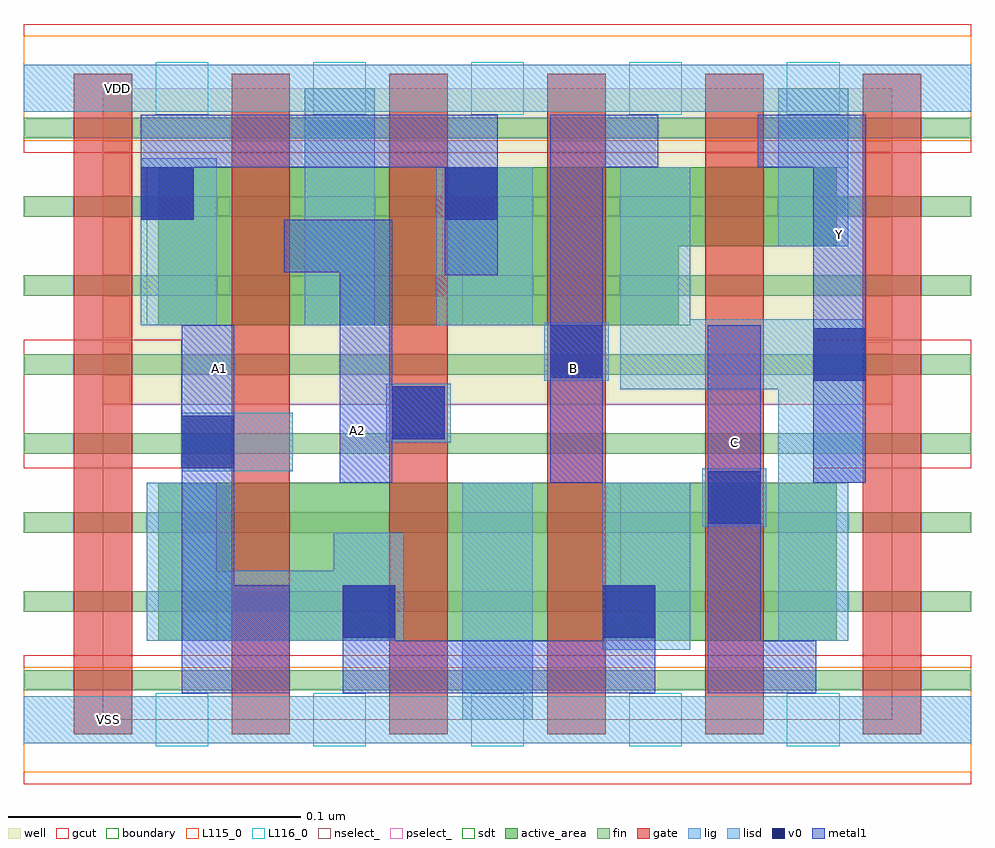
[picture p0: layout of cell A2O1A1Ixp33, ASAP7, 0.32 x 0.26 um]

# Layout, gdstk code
import gdstk
lib = gdstk.Library(unit=1e-6, precision=2.5e-10)
def R(c, l, rs):  # rectangles x0, y0, x1, y1
    for r in rs: c.add(gdstk.rectangle(r[:2], r[2:], *l))
def A(c, l, x, y, w, h, nx, ny, dx, dy):  # array of equal rectangles
    R(c, l, [(x+i*dx, y+j*dy, x+i*dx+w, y+j*dy+h) for i in range(nx) for j in range(ny)])
def P(c, l, *ps):  # polygons
    for p in ps: c.add(gdstk.Polygon(p, *l))
well = (1, 0)
fin = (2, 0)
gate = (7, 0)
gcut = (10, 0)
active_area = (11, 0)
nselect_ = (12, 0)
pselect_ = (13, 0)
lig = (16, 0)
lisd = (17, 0)
v0 = (18, 0)
metal1 = (19, 0)
sdt = (88, 0)
boundary = (100, 0)
L115_0 = (115, 0)
L116_0 = (116, 0)

a2o1a1ixp33 = lib.new_cell('A2O1A1Ixp33')
R(a2o1a1ixp33, well, [(0,0.108,0.27,0.216)])
A(a2o1a1ixp33, fin, -0.027, 0.01, 0.324, 0.007, 1, 8, 0, 0.027)
A(a2o1a1ixp33, gate, -0.01, -0.005, 0.02, 0.226, 6, 1, 0.054, 0)
R(a2o1a1ixp33, gcut, [(-0.027,-0.022,0.297,0.022), (-0.027,0.086,0.027,0.13), (0.243,0.086,0.297,0.13), (-0.027,0.194,0.297,0.238)])
R(a2o1a1ixp33, active_area, [(0.019,0.027,0.251,0.081), (0.235,0.027,0.251,0.081)])
P(a2o1a1ixp33, active_area, [(0.251,0.189),(0.019,0.189),(0.019,0.135),(0.197,0.135),(0.197,0.162),(0.251,0.162)])
R(a2o1a1ixp33, nselect_, [(0,0,0.27,0.108)])
R(a2o1a1ixp33, pselect_, [(0,0.108,0.27,0.216)])
R(a2o1a1ixp33, lig, [(-0.027,-0.008,0.297,0.008), (0.205,0.066,0.227,0.086), (0.027,0.085,0.065,0.105), (0.097,0.095,0.119,0.115), (0.151,0.116,0.173,0.136), (-0.027,0.208,0.297,0.224)])
R(a2o1a1ixp33, lisd, [(0.123,0,0.147,0.081), (0.171,0.024,0.201,0.081), (0.079,0.027,0.103,0.064), (0.013,0.135,0.039,0.192), (0.069,0.135,0.093,0.216), (0.114,0.135,0.147,0.189), (0.231,0.162,0.255,0.216)])
P(a2o1a1ixp33, lisd, [(0.103,0.051),(0.039,0.051),(0.039,0.081),(0.015,0.081),(0.015,0.027),(0.103,0.027)],
  [(0.255,0.081),(0.261,0.081),(0.261,0.137),(0.201,0.137),(0.201,0.189),(0.177,0.189),(0.177,0.113),(0.231,0.113),(0.231,0.027),(0.255,0.027)])
R(a2o1a1ixp33, v0, [(0.082,0.028,0.1,0.046), (0.171,0.028,0.189,0.046), (0.207,0.067,0.225,0.085), (0.027,0.086,0.045,0.104), (0.099,0.096,0.117,0.114), (0.243,0.116,0.261,0.134), (0.153,0.117,0.171,0.135), (0.013,0.171,0.031,0.189), (0.117,0.171,0.135,0.189)])
R(a2o1a1ixp33, metal1, [(0.027,0.009,0.064,0.046), (0.082,0.009,0.189,0.027), (0.171,0.009,0.189,0.046), (0.207,0.009,0.244,0.027), (0.207,0.009,0.225,0.135), (0.027,0.027,0.045,0.135), (0.082,0.027,0.1,0.046), (0.171,0.027,0.189,0.046), (0.081,0.081,0.099,0.171), (0.153,0.081,0.171,0.207), (0.243,0.081,0.261,0.207), (0.081,0.096,0.117,0.114), (0.117,0.152,0.135,0.189), (0.062,0.153,0.099,0.171), (0.013,0.171,0.031,0.189), (0.013,0.189,0.135,0.207), (0.153,0.189,0.19,0.207), (0.224,0.189,0.261,0.207)])
A(a2o1a1ixp33, sdt, 0.123, 0.027, 0.024, 0.054, 3, 1, 0.054, 0)
A(a2o1a1ixp33, sdt, 0.015, 0.135, 0.024, 0.054, 4, 1, 0.054, 0)
R(a2o1a1ixp33, sdt, [(0.015,0.027,0.039,0.081), (0.231,0.162,0.255,0.189)])
R(a2o1a1ixp33, boundary, [(0,0,0.27,0.216)])
R(a2o1a1ixp33, L115_0, [(-0.027,-0.018,0.297,0.018), (-0.027,0.198,0.297,0.234)])
A(a2o1a1ixp33, L116_0, 0.018, -0.009, 0.018, 0.018, 5, 2, 0.054, 0.216)
R(a2o1a1ixp33, L116_0, [(0.234,-0.009,0.252,0.009), (0.234,0.207,0.252,0.225)])
a2o1a1ixp33.add(gdstk.Label('Y', (0.252,0.166), layer=19, texttype=251))
a2o1a1ixp33.add(gdstk.Label('C', (0.216,0.095), layer=19, texttype=251))
a2o1a1ixp33.add(gdstk.Label('B', (0.161,0.12), layer=19, texttype=251))
a2o1a1ixp33.add(gdstk.Label('A2', (0.087,0.099), layer=19, texttype=251))
a2o1a1ixp33.add(gdstk.Label('A1', (0.04,0.12), layer=19, texttype=251))
a2o1a1ixp33.add(gdstk.Label('VDD', (0.248,0.163), layer=1, texttype=251))
a2o1a1ixp33.add(gdstk.Label('VSS', (0.316,0.165), layer=3, texttype=251))
a2o1a1ixp33.add(gdstk.Label('VDD', (0.005,0.216), layer=115, texttype=251))
a2o1a1ixp33.add(gdstk.Label('VSS', (0.002,0), layer=115, texttype=251))

lib.write_gds('A2O1A1Ixp33.gds')
